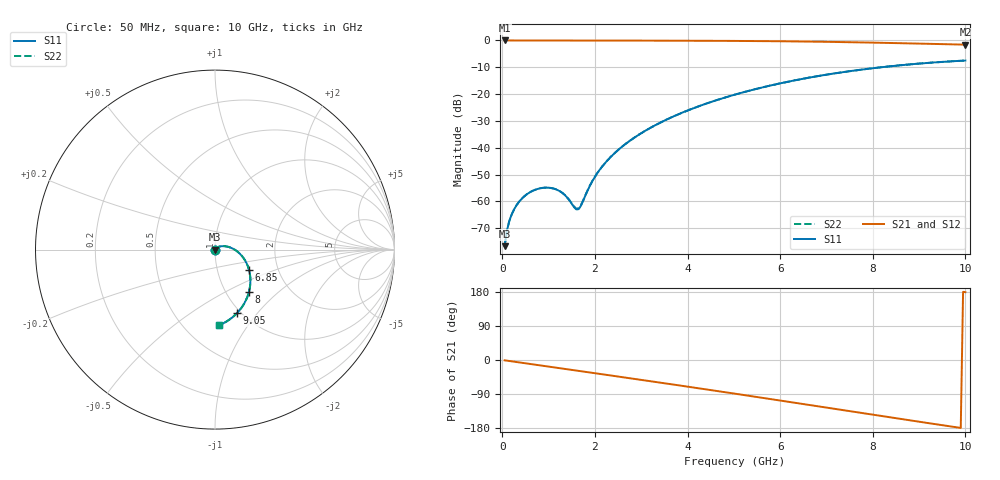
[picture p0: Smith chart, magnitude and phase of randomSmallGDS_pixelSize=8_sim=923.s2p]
! freq	dB(S11)	phase(S11)	dB(S12)	phase(S12)
!  dB(S21)	phase(S21)	dB(S22)	phase(S22)
!S-par simulation data
#  GHz  S  DB  R 50
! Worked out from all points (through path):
!   200 points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, 50 MHz to 10 GHz, reference 50 ohm
!   highest |S21| = 0.00 dB at 50 MHz (marker M1); lowest = -1.6 dB at 10 GHz (marker M2)
!   group delay of S21, straight-line fit = 50.6 ps
!   lowest |S11| = -76.7 dB at 50 MHz (marker M3), VSWR 1.00, Z = 50 - j0.0144 ohm
!   |S11| at or under -10 dB: start of sweep to 8.176 GHz
!   |S22| runs from -76.7 to -7.5 dB; largest |S21 - S12| = 0
!   S11 on the Smith chart (normalised r, x): 50 MHz: 1.00, -0.00; 6.85 GHz: 1.42, -0.33; 8 GHz: 1.27, -0.67; 9.05 GHz: 0.97, -0.79; 10 GHz: 0.72, -0.74
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0.05  -76.69 -78.7  -0.00 -0.9  -0.00 -0.9  -76.69 -78.7
0.1  -70.84 -86.0  -0.00 -1.8  -0.00 -1.8  -70.85 -86.1
0.15  -67.39 -89.3  -0.00 -2.6  -0.00 -2.6  -67.40 -89.4
0.25  -63.11 -93.4  -0.00 -4.4  -0.00 -4.4  -63.11 -93.4
0.6  -56.57 -103.5  -0.01 -10.5  -0.01 -10.5  -56.57 -103.7
0.9  -54.90 -112.5  -0.02 -15.7  -0.02 -15.7  -54.90 -112.7
1.15  -55.45 -122.2  -0.02 -20.0  -0.02 -20.0  -55.44 -122.6
1.35  -57.63 -135.3  -0.03 -23.5  -0.03 -23.5  -57.59 -136.0
1.6  -63.02 169.1  -0.03 -27.9  -0.03 -27.9  -62.73 168.3
1.65  -62.87 146.3  -0.03 -28.7  -0.03 -28.7  -62.55 146.3
1.75  -59.62 109.0  -0.03 -30.5  -0.03 -30.5  -59.42 109.9
2  -50.84 75.1  -0.04 -34.8  -0.04 -34.8  -50.79 75.8
2.35  -43.28 59.6  -0.04 -41.0  -0.04 -41.0  -43.26 60.0
2.8  -36.84 47.6  -0.05 -48.9  -0.05 -48.9  -36.83 47.9
3.4  -30.74 34.7  -0.07 -59.5  -0.07 -59.5  -30.73 35.0
5.05  -20.06 3.2  -0.17 -89.3  -0.17 -89.3  -20.05 3.3
6.7  -13.63 -27.7  -0.44 -120.0  -0.44 -120.0  -13.63 -27.6
6.85  -13.18 -30.5  -0.47 -122.8  -0.47 -122.8  -13.18 -30.4
8  -10.35 -51.7  -0.80 -144.4  -0.80 -144.4  -10.35 -51.6
8.35  -9.67 -58.1  -0.93 -150.9  -0.93 -150.9  -9.67 -58.0
9.05  -8.56 -70.6  -1.19 -163.8  -1.19 -163.8  -8.56 -70.5
10  -7.49 -87.1  -1.56 179.0  -1.56 179.0  -7.49 -87.0
